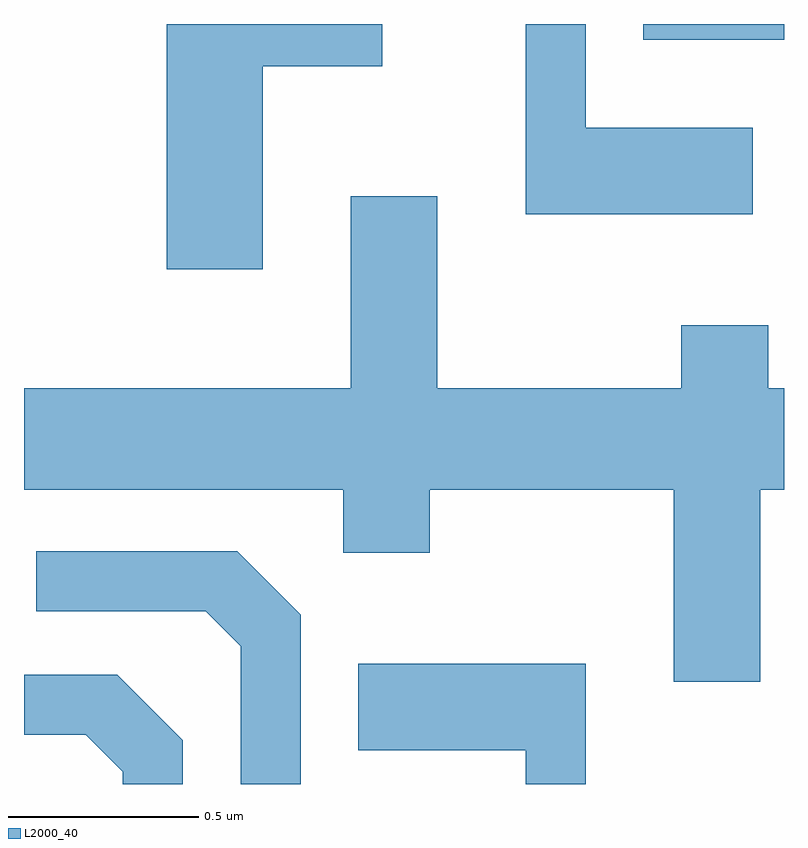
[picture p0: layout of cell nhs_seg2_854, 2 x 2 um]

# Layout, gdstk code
import gdstk
lib = gdstk.Library(unit=1e-6, precision=1e-09)
def R(c, l, rs):  # rectangles x0, y0, x1, y1
    for r in rs: c.add(gdstk.rectangle(r[:2], r[2:], *l))
def P(c, l, *ps):  # polygons
    for p in ps: c.add(gdstk.Polygon(p, *l))
L2000_40 = (2000, 40)

nhs_seg2_854 = lib.new_cell('nhs_seg2_854')
R(nhs_seg2_854, L2000_40, [(193.241,1011.761,193.611,1011.802)])
P(nhs_seg2_854, L2000_40, [(193.529,1011.529),(193.089,1011.529),(193.089,1011.802),(192.931,1011.802),(192.931,1011.301),(193.529,1011.301)],
  [(192.239,1011.691),(192.554,1011.691),(192.554,1011.802),(191.986,1011.802),(191.986,1011.156),(192.239,1011.156)],
  [(193.549,1010.576),(193.611,1010.576),(193.611,1010.844),(193.569,1010.844),(193.569,1011.009),(193.341,1011.009),(193.341,1010.844),(192.699,1010.844),(192.699,1011.349),(192.471,1011.349),(192.471,1010.844),(191.611,1010.844),(191.611,1010.576),(192.451,1010.576),(192.451,1010.411),(192.679,1010.411),(192.679,1010.576),(193.321,1010.576),(193.321,1010.071),(193.549,1010.071)],
  [(192.339,1010.247),(192.172,1010.414),(191.643,1010.414),(191.643,1010.256),(192.089,1010.256),(192.181,1010.164),(192.181,1009.802),(192.339,1009.802)],
  [(193.089,1010.119),(192.491,1010.119),(192.491,1009.891),(192.931,1009.891),(192.931,1009.802),(193.089,1009.802)],
  [(192.029,1009.917),(191.857,1010.089),(191.611,1010.089),(191.611,1009.931),(191.774,1009.931),(191.871,1009.834),(191.871,1009.802),(192.029,1009.802)])

lib.write_gds('nhs_seg2_854.gds')
